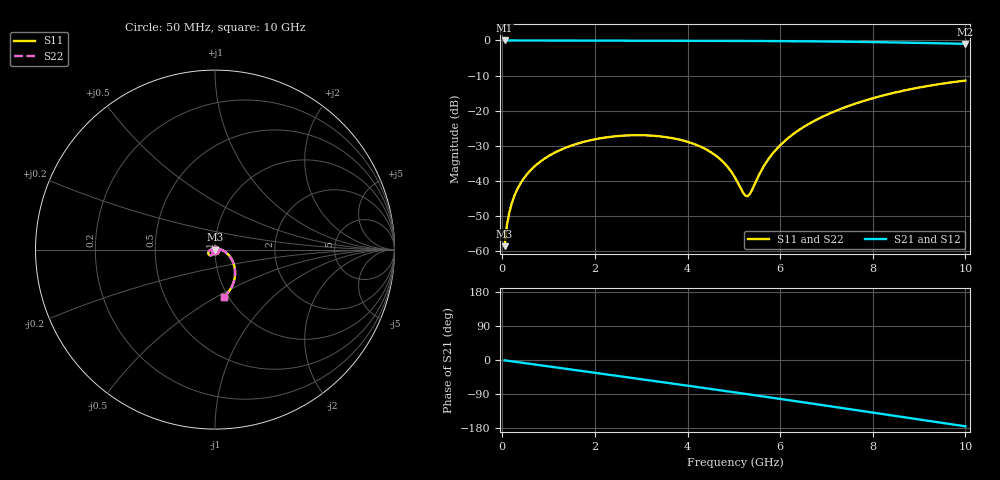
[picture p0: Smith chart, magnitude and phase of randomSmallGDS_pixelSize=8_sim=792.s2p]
! freq	dB(S11)	phase(S11)	dB(S12)	phase(S12)
!  dB(S21)	phase(S21)	dB(S22)	phase(S22)
!S-par simulation data
#  GHz  S  DB  R 50
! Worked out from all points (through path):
!   200 points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, 50 MHz to 10 GHz, reference 50 ohm
!   highest |S21| = 0.00 dB at 50 MHz (marker M1); lowest = -1.0 dB at 10 GHz (marker M2)
!   group delay of S21, straight-line fit = 48.6 ps
!   lowest |S11| = -58.7 dB at 50 MHz (marker M3), VSWR 1.00, Z = 50 - j0.117 ohm
!   |S11| at or under -10 dB: start of sweep to end of sweep
!   |S22| runs from -58.7 to -11.4 dB; largest |S21 - S12| = 0
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0.05  -58.66 -89.5  -0.00 -0.9  -0.00 -0.9  -58.66 -89.5
0.1  -52.64 -91.2  -0.00 -1.7  -0.00 -1.7  -52.64 -91.2
0.2  -46.62 -93.5  -0.00 -3.4  -0.00 -3.4  -46.62 -93.5
0.35  -41.77 -96.4  -0.01 -6.0  -0.01 -6.0  -41.77 -96.4
0.5  -38.70 -99.1  -0.01 -8.5  -0.01 -8.5  -38.70 -99.1
1  -32.96 -108.0  -0.02 -16.9  -0.02 -16.9  -32.96 -108.0
1.75  -28.94 -121.3  -0.04 -29.5  -0.04 -29.5  -28.94 -121.3
2.55  -27.20 -135.5  -0.06 -43.0  -0.06 -43.0  -27.20 -135.5
3.4  -27.34 -151.1  -0.07 -57.5  -0.07 -57.5  -27.34 -151.2
4  -28.90 -163.4  -0.09 -67.7  -0.09 -67.7  -28.90 -163.4
4.45  -31.43 -174.6  -0.10 -75.5  -0.10 -75.5  -31.43 -174.6
4.8  -35.07 172.3  -0.12 -81.5  -0.12 -81.5  -35.07 172.2
5.05  -39.68 152.6  -0.13 -85.9  -0.13 -85.9  -39.67 152.5
5.2  -43.43 122.6  -0.13 -88.5  -0.13 -88.5  -43.40 122.5
5.3  -44.40 87.1  -0.14 -90.3  -0.14 -90.3  -44.37 87.1
5.65  -35.79 18.4  -0.16 -96.4  -0.16 -96.4  -35.78 18.5
5.9  -31.29 5.0  -0.18 -100.9  -0.18 -100.9  -31.29 5.0
6.25  -27.02 -6.2  -0.21 -107.1  -0.21 -107.1  -27.02 -6.2
6.7  -23.20 -17.0  -0.25 -115.2  -0.25 -115.2  -23.20 -17.0
7.45  -18.81 -32.4  -0.36 -128.7  -0.36 -128.7  -18.81 -32.4
8.35  -15.27 -49.5  -0.53 -145.1  -0.53 -145.1  -15.27 -49.5
10  -11.44 -79.3  -0.97 -175.0  -0.97 -175.0  -11.44 -79.3
